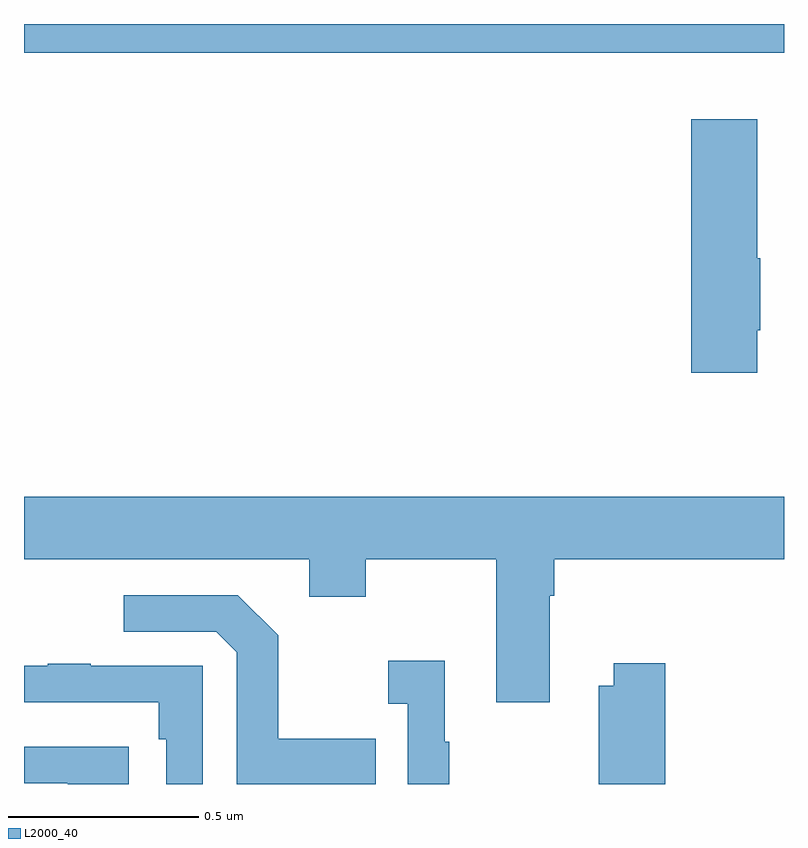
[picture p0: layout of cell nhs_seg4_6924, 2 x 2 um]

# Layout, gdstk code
import gdstk
lib = gdstk.Library(unit=1e-6, precision=1e-09)
def R(c, l, rs):  # rectangles x0, y0, x1, y1
    for r in rs: c.add(gdstk.rectangle(r[:2], r[2:], *l))
def P(c, l, *ps):  # polygons
    for p in ps: c.add(gdstk.Polygon(p, *l))
L2000_40 = (2000, 40)

nhs_seg4_6924 = lib.new_cell('nhs_seg4_6924')
R(nhs_seg4_6924, L2000_40, [(196,792.824,198,792.9)])
P(nhs_seg4_6924, L2000_40, [(197.929,792.094),(197.937,792.094),(197.937,792.283),(197.929,792.283),(197.929,792.649),(197.756,792.649),(197.756,791.982),(197.929,791.982)],
  [(197.383,791.396),(197.396,791.396),(197.396,791.492),(198,791.492),(198,791.656),(196,791.656),(196,791.492),(196.751,791.492),(196.751,791.393),(196.899,791.393),(196.899,791.492),(197.243,791.492),(197.243,791.115),(197.383,791.115)],
  [(196.925,791.019),(196.669,791.019),(196.669,791.291),(196.563,791.397),(196.263,791.397),(196.263,791.301),(196.506,791.301),(196.56,791.247),(196.56,790.9),(196.925,790.9)],
  [(197.119,791.011),(197.107,791.011),(197.107,791.224),(196.959,791.224),(196.959,791.111),(197.01,791.111),(197.01,790.9),(197.119,790.9)],
  [(197.687,791.218),(197.552,791.218),(197.552,791.158),(197.512,791.158),(197.512,790.9),(197.687,790.9)],
  [(196.47,791.211),(196.175,791.211),(196.175,791.216),(196.063,791.216),(196.063,791.211),(196,791.211),(196,791.115),(196.354,791.115),(196.354,791.018),(196.374,791.018),(196.374,790.9),(196.47,790.9)],
  [(196.276,790.998),(196,790.998),(196,790.902),(196.115,790.902),(196.115,790.9),(196.276,790.9)])

lib.write_gds('nhs_seg4_6924.gds')
